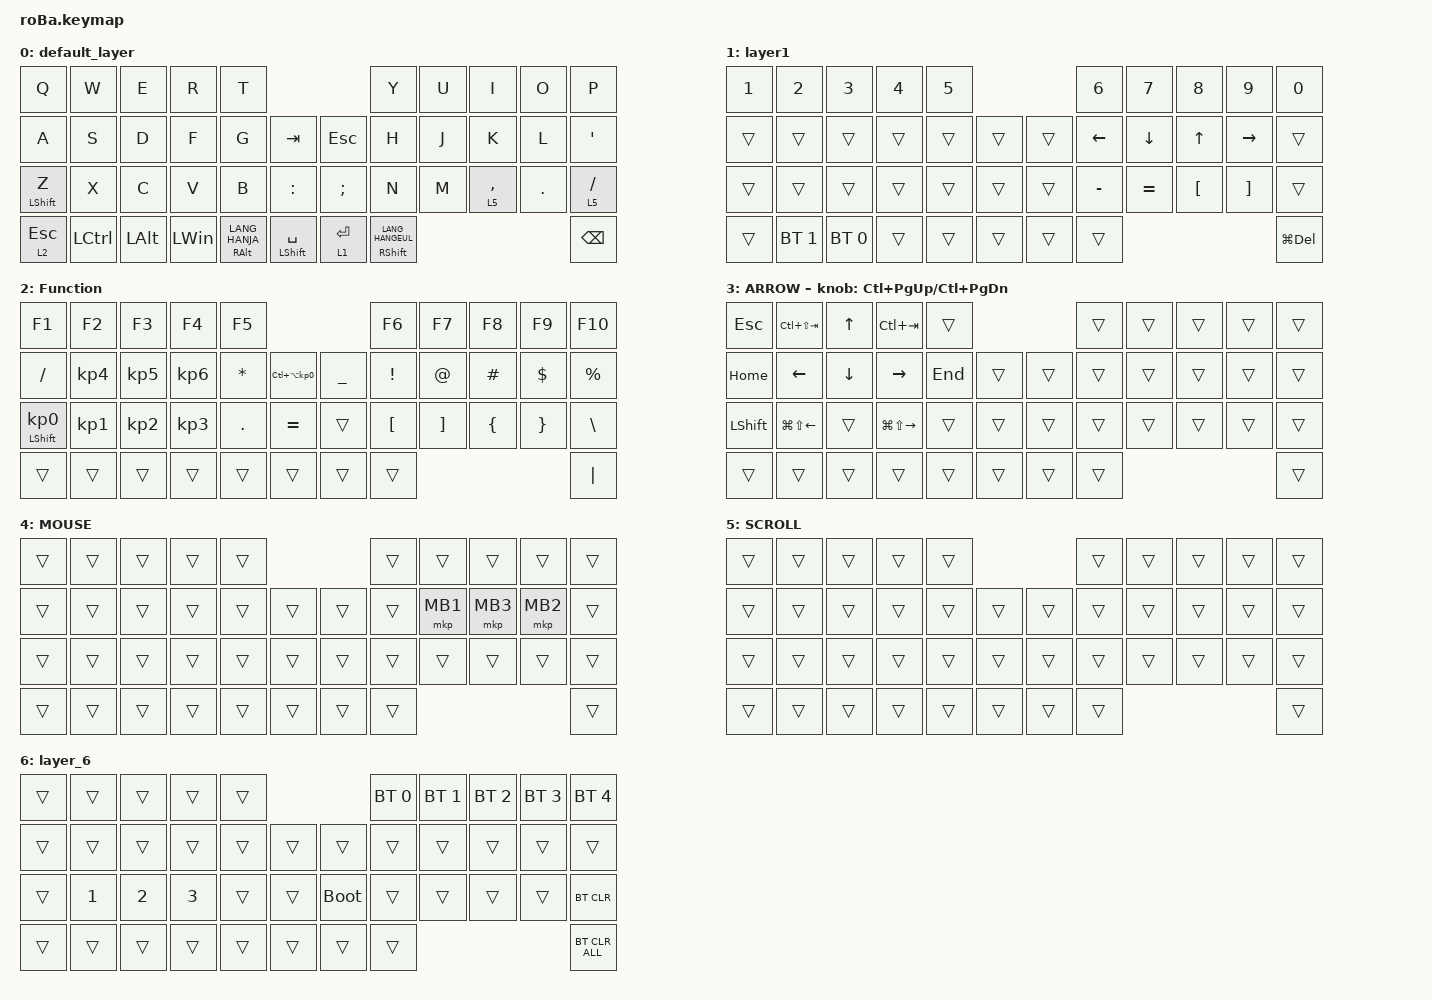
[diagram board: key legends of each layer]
#include <behaviors.dtsi>
#include <dt-bindings/zmk/bt.h>
#include <dt-bindings/zmk/keys.h>
#include <dt-bindings/zmk/pointing.h>

&mt {
    flavor = "balanced";
    quick-tap-ms = <0>;
};

&trackball {
    automouse-layer = <4>;
    scroll-layers = <5>;

    // arrows {
    //     layers = <3>;
    //     bindings =
    //         <&kp RIGHT_ARROW>,
    //         <&kp LEFT_ARROW>,
    //         <&kp UP_ARROW>,
    //         <&kp DOWN_ARROW>;
    //     tick = <10>;
    //     wait-ms = <5>;
    //     tap-ms = <5>;
    // };
};

/ {
    combos {
        compatible = "zmk,combos";

        tab {
            bindings = <&kp TAB>;
            key-positions = <11 12>;
        };

        shift_tab {
            bindings = <&kp LS(TAB)>;
            key-positions = <12 13>;
        };

        muhennkann {
            bindings = <&to_layer_0 INT_MUHENKAN>;
            key-positions = <11 10>;
        };

        double_quotation {
            bindings = <&kp DOUBLE_QUOTES>;
            key-positions = <20 21>;
        };

        eq {
            bindings = <&kp EQUAL>;
            key-positions = <24 25>;
        };
    };

    macros {
        to_layer_0: to_layer_0 {
            compatible = "zmk,behavior-macro-one-param";
            #binding-cells = <1>;
            bindings = <&to 0 &macro_param_1to1 &kp MACRO_PLACEHOLDER>;
            label = "TO_LAYER_0";
        };
    };

    behaviors {
        lt_to_layer_0: lt_to_layer_0 {
            compatible = "zmk,behavior-hold-tap";
            label = "LAYER_TAP_TO_0";
            bindings = <&mo>, <&to_layer_0>;

            #binding-cells = <2>;
            tapping-term-ms = <200>;
        };
    };

    keymap {
        compatible = "zmk,keymap";

        default_layer {
            bindings = <
&kp Q             &kp W             &kp E         &kp R         &kp T                                                              &kp Y                         &kp U  &kp I        &kp O    &kp P
&kp A             &kp S             &kp D         &kp F         &kp G                     &kp TAB                   &kp ESCAPE     &kp H                         &kp J  &kp K        &kp L    &kp SQT
&mt LEFT_SHIFT Z  &kp X             &kp C         &kp V         &kp B                     &kp COLON                 &kp SEMICOLON  &kp N                         &kp M  &lt 5 COMMA  &kp DOT  &lt 5 FSLH
&lt 2 ESCAPE      &kp LEFT_CONTROL  &kp LEFT_ALT  &kp LEFT_WIN  &mt RIGHT_ALT LANG_HANJA  &mt LEFT_SHIFT SPACE      &lt 1 RETURN   &mt RIGHT_SHIFT LANG_HANGEUL                               &kp BACKSPACE
            >;
        };

        layer1 {
            bindings = <
&kp N1  &kp N2        &kp N3        &kp N4  &kp N5                      &kp N6     &kp N7     &kp N8            &kp N9             &kp N0
&trans  &trans        &trans        &trans  &trans  &trans      &trans  &kp LEFT   &kp DOWN   &kp UP            &kp RIGHT          &trans
&trans  &trans        &trans        &trans  &trans  &trans      &trans  &kp MINUS  &kp EQUAL  &kp LEFT_BRACKET  &kp RIGHT_BRACKET  &trans
&trans  &bt BT_SEL 1  &bt BT_SEL 0  &trans  &trans  &trans      &trans  &trans                                                     &kp LG(DELETE)
            >;
        };

        Function {
            bindings = <
&kp F1                      &kp F2           &kp F3           &kp F4           &kp F5                                                     &kp F6            &kp F7             &kp F8          &kp F9           &kp F10
&kp SLASH                   &kp KP_NUMBER_4  &kp KP_NUMBER_5  &kp KP_NUMBER_6  &kp ASTERISK  &kp LC(LA(KP_NUMBER_0))      &kp UNDERSCORE  &kp EXCLAMATION   &kp AT_SIGN        &kp HASH        &kp DOLLAR       &kp PERCENT
&mt LEFT_SHIFT KP_NUMBER_0  &kp KP_NUMBER_1  &kp KP_NUMBER_2  &kp KP_NUMBER_3  &kp PERIOD    &kp EQUAL                    &trans          &kp LEFT_BRACKET  &kp RIGHT_BRACKET  &kp LEFT_BRACE  &kp RIGHT_BRACE  &kp BACKSLASH
&trans                      &trans           &trans           &trans           &trans        &trans                       &trans          &trans                                                                &kp PIPE
            >;
        };

        ARROW {
            bindings = <
&kp ESCAPE      &kp LC(LS(TAB))         &kp UP_ARROW    &kp LC(TAB)              &trans                       &trans  &trans  &trans  &trans  &trans
&kp HOME        &kp LEFT_ARROW          &kp DOWN_ARROW  &kp RIGHT_ARROW          &kp END  &trans      &trans  &trans  &trans  &trans  &trans  &trans
&kp LEFT_SHIFT  &kp LG(LS(LEFT_ARROW))  &trans          &kp LG(LS(RIGHT_ARROW))  &trans   &trans      &trans  &trans  &trans  &trans  &trans  &trans
&trans          &trans                  &trans          &trans                   &trans   &trans      &trans  &trans                          &trans
            >;

            sensor-bindings = <&inc_dec_kp LC(PAGE_UP) LC(PAGE_DOWN)>;
        };

        MOUSE {
            bindings = <
&trans  &trans  &trans  &trans  &trans                      &trans  &trans    &trans    &trans    &trans
&trans  &trans  &trans  &trans  &trans  &trans      &trans  &trans  &mkp MB1  &mkp MB3  &mkp MB2  &trans
&trans  &trans  &trans  &trans  &trans  &trans      &trans  &trans  &trans    &trans    &trans    &trans
&trans  &trans  &trans  &trans  &trans  &trans      &trans  &trans                                &trans
            >;
        };

        SCROLL {
            bindings = <
&trans  &trans  &trans  &trans  &trans                      &trans  &trans  &trans  &trans  &trans
&trans  &trans  &trans  &trans  &trans  &trans      &trans  &trans  &trans  &trans  &trans  &trans
&trans  &trans  &trans  &trans  &trans  &trans      &trans  &trans  &trans  &trans  &trans  &trans
&trans  &trans  &trans  &trans  &trans  &trans      &trans  &trans                          &trans
            >;
        };

        layer_6 {
            bindings = <
&trans  &trans        &trans        &trans        &trans                           &bt BT_SEL 0  &bt BT_SEL 1  &bt BT_SEL 2  &bt BT_SEL 3  &bt BT_SEL 4
&trans  &trans        &trans        &trans        &trans  &trans      &trans       &trans        &trans        &trans        &trans        &trans
&trans  &kp NUMBER_1  &kp NUMBER_2  &kp NUMBER_3  &trans  &trans      &bootloader  &trans        &trans        &trans        &trans        &bt BT_CLR
&trans  &trans        &trans        &trans        &trans  &trans      &trans       &trans                                                  &bt BT_CLR_ALL
            >;
        };
    };
};
